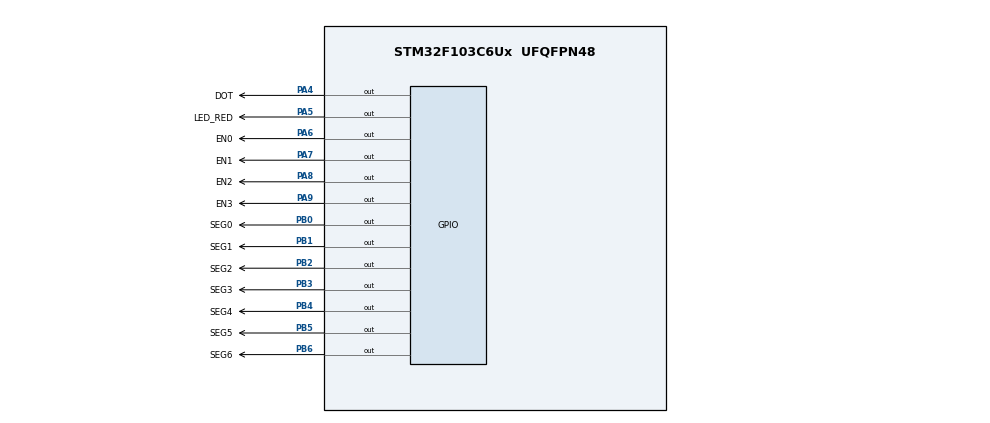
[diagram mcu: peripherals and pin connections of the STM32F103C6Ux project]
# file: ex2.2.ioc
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Mcu.Family=STM32F1
Mcu.Name=STM32F103C6Ux
Mcu.Package=UFQFPN48
NVIC.PriorityGroup=NVIC_PRIORITYGROUP_4
NVIC.TIM2_IRQn=true\:0\:0\:false\:false\:true\:true\:true
PA4.GPIO_Label=DOT
PA4.Signal=GPIO_Output
PA5.GPIO_Label=LED_RED
PA5.Signal=GPIO_Output
PA6.GPIO_Label=EN0
PA6.Signal=GPIO_Output
PA7.GPIO_Label=EN1
PA7.Signal=GPIO_Output
PA8.GPIO_Label=EN2
PA8.Signal=GPIO_Output
PA9.GPIO_Label=EN3
PA9.Signal=GPIO_Output
PB0.GPIO_Label=SEG0
PB0.Signal=GPIO_Output
PB1.GPIO_Label=SEG1
PB1.Signal=GPIO_Output
PB2.GPIO_Label=SEG2
PB2.Signal=GPIO_Output
PB3.GPIO_Label=SEG3
PB3.Signal=GPIO_Output
PB4.GPIO_Label=SEG4
PB4.Signal=GPIO_Output
PB5.GPIO_Label=SEG5
PB5.Signal=GPIO_Output
PB6.GPIO_Label=SEG6
PB6.Signal=GPIO_Output
ProjectManager.HeapSize=0x200
ProjectManager.StackSize=0x400
ProjectManager.TargetToolchain=STM32CubeIDE
RCC.APB1Freq_Value=8000000
RCC.APB2Freq_Value=8000000
TIM2.Period=9
TIM2.Prescaler=7999
VP_SYS_VS_ND.Mode=No_Debug
VP_TIM2_VS_ClockSourceINT.Mode=Internal
board=custom

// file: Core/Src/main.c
/* USER CODE BEGIN Header */
/**
  ******************************************************************************
  * @file           : main.c
  * @brief          : Main program body
  ******************************************************************************
  * @attention
  *
  * <h2><center>&copy; Copyright (c) 2022 STMicroelectronics.
  * All rights reserved.</center></h2>
  *
  * This software component is licensed by ST under BSD 3-Clause license,
  * the "License"; You may not use this file except in compliance with the
  * License. You may obtain a copy of the License at:
  *                        opensource.org/licenses/BSD-3-Clause
  *
  ******************************************************************************
  */
/* USER CODE END Header */
#include "main.h"

TIM_HandleTypeDef htim2;

void SystemClock_Config(void);
static void MX_GPIO_Init(void);
static void MX_TIM2_Init(void);

int main(void)
{

  /* MCU Configuration--------------------------------------------------------*/

  /* Reset of all peripherals, Initializes the Flash interface and the Systick. */
  HAL_Init();

  /* Configure the system clock */
  SystemClock_Config();

  /* Initialize all configured peripherals */
  MX_GPIO_Init();
  MX_TIM2_Init();
  /* USER CODE BEGIN 2 */
  HAL_TIM_Base_Start_IT(&htim2);

  /* USER CODE END 2 */

  /* Infinite loop */
  while (1)
  {

  }
}

void SystemClock_Config(void)
{
  RCC_OscInitTypeDef RCC_OscInitStruct = {0};
  RCC_ClkInitTypeDef RCC_ClkInitStruct = {0};

  /** Initializes the RCC Oscillators according to the specified parameters
  * in the RCC_OscInitTypeDef structure.
  */
  RCC_OscInitStruct.OscillatorType = RCC_OSCILLATORTYPE_HSI;
  RCC_OscInitStruct.HSIState = RCC_HSI_ON;
  RCC_OscInitStruct.HSICalibrationValue = RCC_HSICALIBRATION_DEFAULT;
  RCC_OscInitStruct.PLL.PLLState = RCC_PLL_NONE;
  if (HAL_RCC_OscConfig(&RCC_OscInitStruct) != HAL_OK)
  {
    Error_Handler();
  }
  /** Initializes the CPU, AHB and APB buses clocks
  */
  RCC_ClkInitStruct.ClockType = RCC_CLOCKTYPE_HCLK|RCC_CLOCKTYPE_SYSCLK
                              |RCC_CLOCKTYPE_PCLK1|RCC_CLOCKTYPE_PCLK2;
  RCC_ClkInitStruct.SYSCLKSource = RCC_SYSCLKSOURCE_HSI;
  RCC_ClkInitStruct.AHBCLKDivider = RCC_SYSCLK_DIV1;
  RCC_ClkInitStruct.APB1CLKDivider = RCC_HCLK_DIV1;
  RCC_ClkInitStruct.APB2CLKDivider = RCC_HCLK_DIV1;

  if (HAL_RCC_ClockConfig(&RCC_ClkInitStruct, FLASH_LATENCY_0) != HAL_OK)
  {
    Error_Handler();
  }
}

static void MX_TIM2_Init(void)
{

  TIM_ClockConfigTypeDef sClockSourceConfig = {0};
  TIM_MasterConfigTypeDef sMasterConfig = {0};

  htim2.Instance = TIM2;
  htim2.Init.Prescaler = 7999;
  htim2.Init.CounterMode = TIM_COUNTERMODE_UP;
  htim2.Init.Period = 9;
  htim2.Init.ClockDivision = TIM_CLOCKDIVISION_DIV1;
  htim2.Init.AutoReloadPreload = TIM_AUTORELOAD_PRELOAD_DISABLE;
  if (HAL_TIM_Base_Init(&htim2) != HAL_OK)
  {
    Error_Handler();
  }
  sClockSourceConfig.ClockSource = TIM_CLOCKSOURCE_INTERNAL;
  if (HAL_TIM_ConfigClockSource(&htim2, &sClockSourceConfig) != HAL_OK)
  {
    Error_Handler();
  }
  sMasterConfig.MasterOutputTrigger = TIM_TRGO_RESET;
  sMasterConfig.MasterSlaveMode = TIM_MASTERSLAVEMODE_DISABLE;
  if (HAL_TIMEx_MasterConfigSynchronization(&htim2, &sMasterConfig) != HAL_OK)
  {
    Error_Handler();
  }

}

static void MX_GPIO_Init(void)
{
  GPIO_InitTypeDef GPIO_InitStruct = {0};

  /* GPIO Ports Clock Enable */
  __HAL_RCC_GPIOA_CLK_ENABLE();
  __HAL_RCC_GPIOB_CLK_ENABLE();

  /*Configure GPIO pin Output Level */
  HAL_GPIO_WritePin(GPIOA, DOT_Pin|LED_RED_Pin|EN0_Pin|EN1_Pin
                          |EN2_Pin|EN3_Pin, GPIO_PIN_RESET);

  /*Configure GPIO pin Output Level */
  HAL_GPIO_WritePin(GPIOB, SEG0_Pin|SEG1_Pin|SEG2_Pin|SEG3_Pin
                          |SEG4_Pin|SEG5_Pin|SEG6_Pin, GPIO_PIN_RESET);

  /*Configure GPIO pins : DOT_Pin LED_RED_Pin EN0_Pin EN1_Pin
                           EN2_Pin EN3_Pin */
  GPIO_InitStruct.Pin = DOT_Pin|LED_RED_Pin|EN0_Pin|EN1_Pin
                          |EN2_Pin|EN3_Pin;
  GPIO_InitStruct.Mode = GPIO_MODE_OUTPUT_PP;
  GPIO_InitStruct.Pull = GPIO_NOPULL;
  GPIO_InitStruct.Speed = GPIO_SPEED_FREQ_LOW;
  HAL_GPIO_Init(GPIOA, &GPIO_InitStruct);

  /*Configure GPIO pins : SEG0_Pin SEG1_Pin SEG2_Pin SEG3_Pin
                           SEG4_Pin SEG5_Pin SEG6_Pin */
  GPIO_InitStruct.Pin = SEG0_Pin|SEG1_Pin|SEG2_Pin|SEG3_Pin
                          |SEG4_Pin|SEG5_Pin|SEG6_Pin;
  GPIO_InitStruct.Mode = GPIO_MODE_OUTPUT_PP;
  GPIO_InitStruct.Pull = GPIO_NOPULL;
  GPIO_InitStruct.Speed = GPIO_SPEED_FREQ_LOW;
  HAL_GPIO_Init(GPIOB, &GPIO_InitStruct);

}

/* USER CODE BEGIN 4 */
void clearLed() {
	HAL_GPIO_WritePin(GPIOA, EN0_Pin | EN1_Pin | EN2_Pin | EN3_Pin, SET);
	HAL_GPIO_WritePin(GPIOB, SEG0_Pin | SEG1_Pin | SEG2_Pin |
							 SEG3_Pin | SEG4_Pin | SEG5_Pin |
							 SEG6_Pin, SET);
}

int pinControll7SEG[4] = {EN0_Pin, EN1_Pin, EN2_Pin, EN3_Pin};

void enablePin(int index) {
	HAL_GPIO_WritePin(GPIOA, pinControll7SEG[index], RESET);
}
void display7SEG(int num) {
    char segNumber[10] = {0xC0, 0xF9, 0xA4, 0xB0, 0x99, 0x92, 0x82, 0xF8, 0x80, 0x90};
    for (int i = 0; i < 7; ++i) {
        HAL_GPIO_WritePin(GPIOB, GPIO_PIN_0 << i, (segNumber[num] >> i) & 1);
    }
}

int counter = 100, status = 0;
int buffer[4] = {1,2,3,0};
void HAL_TIM_PeriodElapsedCallback(TIM_HandleTypeDef *htim)
{
	counter--;
	if(counter == 50 || counter == 0) {
		// LED RED & DOT BLINK 1S
		if(counter == 0) {
			counter = 100;
			HAL_GPIO_TogglePin(LED_RED_GPIO_Port, LED_RED_Pin);
			HAL_GPIO_TogglePin(DOT_GPIO_Port, DOT_Pin);
		}
		// SWITCH 4 LED7SEG 500ms
		clearLed();
		enablePin(status);
		display7SEG(buffer[status]);
		status++;
		if(status >= 4) status = 0;
	}
}
/* USER CODE END 4 */

void Error_Handler(void)
{
  __disable_irq();
  while (1)
  {
  }
}

/************************ (C) COPYRIGHT STMicroelectronics *****END OF FILE****/
